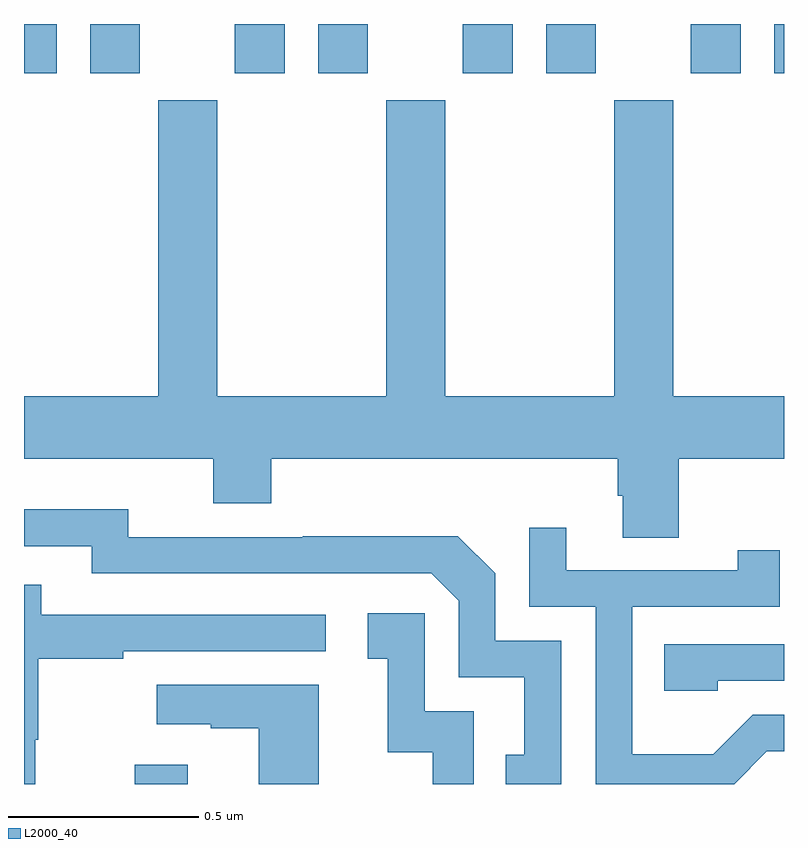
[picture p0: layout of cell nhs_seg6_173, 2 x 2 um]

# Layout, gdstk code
import gdstk
lib = gdstk.Library(unit=1e-6, precision=1e-09)
def R(c, l, rs):  # rectangles x0, y0, x1, y1
    for r in rs: c.add(gdstk.rectangle(r[:2], r[2:], *l))
def P(c, l, *ps):  # polygons
    for p in ps: c.add(gdstk.Polygon(p, *l))
L2000_40 = (2000, 40)

nhs_seg6_173 = lib.new_cell('nhs_seg6_173')
R(nhs_seg6_173, L2000_40, [(113.291,926.5,113.431,926.551), (113,928.371,113.086,928.5), (113.174,928.371,113.305,928.5), (113.555,928.371,113.686,928.5), (113.774,928.371,113.905,928.5), (114.155,928.371,114.286,928.5), (114.374,928.371,114.505,928.5), (114.755,928.371,114.886,928.5), (114.974,928.371,115,928.5)])
P(nhs_seg6_173, L2000_40, [(114.723,927.356),(115,927.356),(115,927.52),(114.708,927.52),(114.708,928.3),(114.553,928.3),(114.553,927.52),(114.108,927.52),(114.108,928.3),(113.953,928.3),(113.953,927.52),(113.508,927.52),(113.508,928.3),(113.353,928.3),(113.353,927.52),(113,927.52),(113,927.356),(113.498,927.356),(113.498,927.239),(113.651,927.239),(113.651,927.356),(114.563,927.356),(114.563,927.258),(114.575,927.258),(114.575,927.148),(114.723,927.148)],
  [(114.414,926.877),(114.24,926.877),(114.24,927.054),(114.142,927.152),(113.734,927.152),(113.734,927.15),(113.274,927.15),(113.274,927.223),(113,927.223),(113,927.126),(113.178,927.126),(113.178,927.054),(114.072,927.054),(114.144,926.982),(114.144,926.781),(114.317,926.781),(114.317,926.577),(114.268,926.577),(114.268,926.5),(114.414,926.5)],
  [(114.955,926.586),(115,926.586),(115,926.682),(114.918,926.682),(114.814,926.578),(114.6,926.578),(114.6,926.967),(114.989,926.967),(114.989,927.115),(114.878,927.115),(114.878,927.063),(114.427,927.063),(114.427,927.175),(114.33,927.175),(114.33,926.967),(114.504,926.967),(114.504,926.5),(114.869,926.5)],
  [(113.03,926.616),(113.038,926.616),(113.038,926.83),(113.261,926.83),(113.261,926.85),(113.794,926.85),(113.794,926.946),(113.045,926.946),(113.045,927.025),(113,927.025),(113,926.5),(113.03,926.5)],
  [(114.183,926.691),(114.054,926.691),(114.054,926.95),(113.904,926.95),(113.904,926.829),(113.957,926.829),(113.957,926.583),(114.075,926.583),(114.075,926.5),(114.183,926.5)],
  [(114.825,926.772),(115,926.772),(115,926.868),(114.685,926.868),(114.685,926.745),(114.825,926.745)],
  [(113.776,926.761),(113.349,926.761),(113.349,926.657),(113.492,926.657),(113.492,926.647),(113.618,926.647),(113.618,926.5),(113.776,926.5)])

lib.write_gds('nhs_seg6_173.gds')
